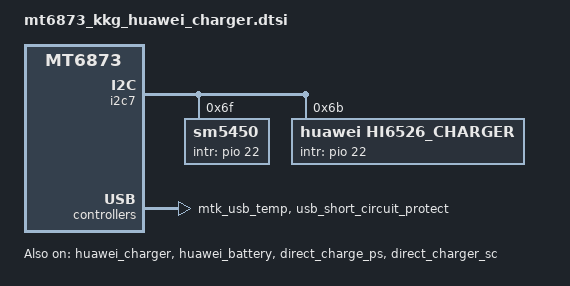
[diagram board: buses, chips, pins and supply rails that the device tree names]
&charger {
	ac_charger_current = <2500000>;
	ac_charger_input_current = <2200000>;
	fcp_charger_current = <2500000>;
	fcp_charger_input_current = <1400000>;
	non_std_ac_charger_current = <1200000>;
	dpm_enable;
	battery_cv = <4380000>;
	iterm = <150000>;
	vbus_max_limit = <11500>;
	jeita_temp_t2_to_t3_cv = <4380000>;
	jeita_temp_t1_to_t2_cv = <4380000>;
	jeita_temp_t0_to_t1_cv = <4380000>;
	jeita_temp_t3_to_t4_cur = <1715000>;
	jeita_temp_t2_to_t3_cur = <3000000>;
	jeita_temp_t1_to_t2_cur = <1470000>;
	jeita_temp_t0_to_t1_cur = <490000>;
	vdpm_buf_limit = <100>;
	vdpm_para =
			"-32767", "4000", "4240", "50",
			"4000", "4200", "4440", "50",
			"4200", "32767", "4600", "50";
	charge_full_design = <5000000>;
};

&pio {
	hi6526_irq_pins_default: hi6526_irq_pins_default {
		pins_cmd_dat {
			pinmux = <PINMUX_GPIO22__FUNC_GPIO22>;
			slew-rate = <0>;
			bias-pull-up;
		};
	};
};

&i2c7 {
			sm5450@6F{
				compatible = "sm5450";
				reg = <0x6F>;
				pinctrl-names = "default";
				pinctrl-0 = <&hi6526_irq_pins_default>;
				intr_gpio_num = <22>; /* direct defined GPIO num */
				intr_gpio = <&pio 22 0>;
				adc_channel_vbat_sys = <14>;
				fcp_support = <1>;
				scp_support = <1>;
				lvc_ibat_regulator = <12200>;
				lvc_vbat_regulator = <4500>;
				lvc_vout_regulator = <4550>;
				lvc_ibus_regulator = <5600>;
				sc_ibat_regulator = <12200>;
				sc_vbat_regulator = <4500>;
				sc_vout_regulator = <4550>;
				sc_ibus_regulator = <5600>;
				lvc_vusb2vbus_drop_en = <1>;
				sc_vusb2vbus_drop_en = <1>;
				bat_comp = <30>;
				vclamp = <90>;
				r_coul_mohm = <5>;
				status = "ok";
			};

			hi6526_charger@6B{
				compatible = "huawei,hi6526_charger";
				reg = <0x6B>;
				pinctrl-names = "default";
				pinctrl-0 = <&hi6526_irq_pins_default>;
				intr_gpio_num = <22>; /* direct defined GPIO num */
				intr_gpio = <&pio 22 0>;
				adc_channel_vbat_sys = <14>;
				fcp_support = <1>;
				scp_support = <1>;
				lvc_ibat_regulator = <12200>;
				lvc_vbat_regulator = <4500>;
				lvc_vout_regulator = <4550>;
				lvc_ibus_regulator = <5600>;
				sc_ibat_regulator = <12200>;
				sc_vbat_regulator = <4500>;
				sc_vout_regulator = <4550>;
				sc_ibus_regulator = <5600>;
				lvc_vusb2vbus_drop_en = <1>;
				sc_vusb2vbus_drop_en = <1>;
				bat_comp = <30>;
				vclamp = <90>;
				r_coul_mohm = <5>;
				status = "ok";
			};
};

&huawei_charger {
	compatible = "huawei,charger";
	status = "okay";
};

&huawei_battery {
	compatible = "huawei,battery";
	voltage_max_design = <4380000>;
	status = "okay";
};

&lk_charger{
	ac_charger_current = <1050000>;
	ac_charger_input_current = <1200000>;
	non_std_ac_charger_current = <1050000>;
	is_power_path;
};

&direct_charge_ps {
	status = "ok";
};

&direct_charger {
	use_5A = <1>;
	volt_para =
		"4380", "2800", "1200";
	compensate_r = <20>;
	cc_cable_detect_enable = <1>;
	high_temp_hysteresis = <1>;
	full_path_res_max = <500>;
	super_ico_current = <2400>;
	scp_work_on_charger = <1>;
	standard_cable_full_path_res_max = <500>;
	first_cc_stage_timer_in_min = <0>;
	stage_need_to_jump = "1";
	is_show_ico_first = <1>;
	is_send_cable_type = <0>;
	temp_para =
		"-32767", "10", "0",
		"10", "45", "2800",
		"45", "32767", "0";
	status = "disable";
};

&direct_charger_sc {
	use_5A = <1>;
	dc_volt_ratio = <2>;
	max_adaptor_vset = <11000>;
	init_adapter_vset = <8800>;
	delta_err_10v2p25a = <150>;
	vol_err_th = <500>;
	adaptor_leakage_current_th = <600>;
	high_temp_hysteresis = <1>;
	gain_curr_10v2a = <300>;
	gain_curr_10v2p25a = <500>;
	init_delt_vset = <450>;
	vstep = <20>;
	max_dc_bat_vol = <4350>;
	max_current_for_none_standard_cable = <5000>;
	volt_para =
		"4100", "5000", "4600",
		"4250", "4600", "3400",
		"4400", "3400", "1200";
	compensate_r = <20>;
	cc_cable_detect_enable = <1>;
	full_path_res_max = <500>;
	scp_work_on_charger = <1>;
	standard_cable_full_path_res_max = <500>;
	first_cc_stage_timer_in_min = <10>;
	stage_need_to_jump = "-1";
	is_show_ico_first = <1>;
	is_send_cable_type = <0>;
	temp_para =
		"-32767", "10", "0",
		"10", "45", "5000",
		"45", "32767", "0";
	std_resist_para =
		"0", "300", "5000",
		"300", "500", "5000";
	10v2p25a_cur_para =
		"-32767", "5500",  "2000",
		"5500",   "9000",  "2500",
		"9000",   "10000", "2250",
		"10000",  "10500", "2000",
		"10500",  "32767", "1500";
	status = "ok";
};

&bat_gm30 {
	bat_para =
			"ScudCoslight", "120000", "230000",
			"DesayAtl", "250000", "350000";
	ntc_compensation_is = <1>;
	ntc_temp_compensation_para =
		"4000", "40",
		"3000", "30",
		"2000", "30",
		"1000", "10";
	min_fcc = <3500000>;
	max_fcc = <5000000>;
	dlpt_optimization;
	g_FG_PSEUDO100_T0 = <(97)>;
	g_FG_PSEUDO100_T1 = <(97)>;
	g_FG_PSEUDO100_T2 = <(94)>;
	#include "scud_coslight_4v4_4900mah_ext.dtsi"
	#include "desay_atl_4v4_4900mah_ext.dtsi"
};

&usb_c_pinctrl {
	status = "disabled";
};

&power_thermalzone {
	status = "ok";
};

&mtk_usb_temp {
	status = "ok";
};

&usb_short_circuit_protect {
	status = "ok";
};
